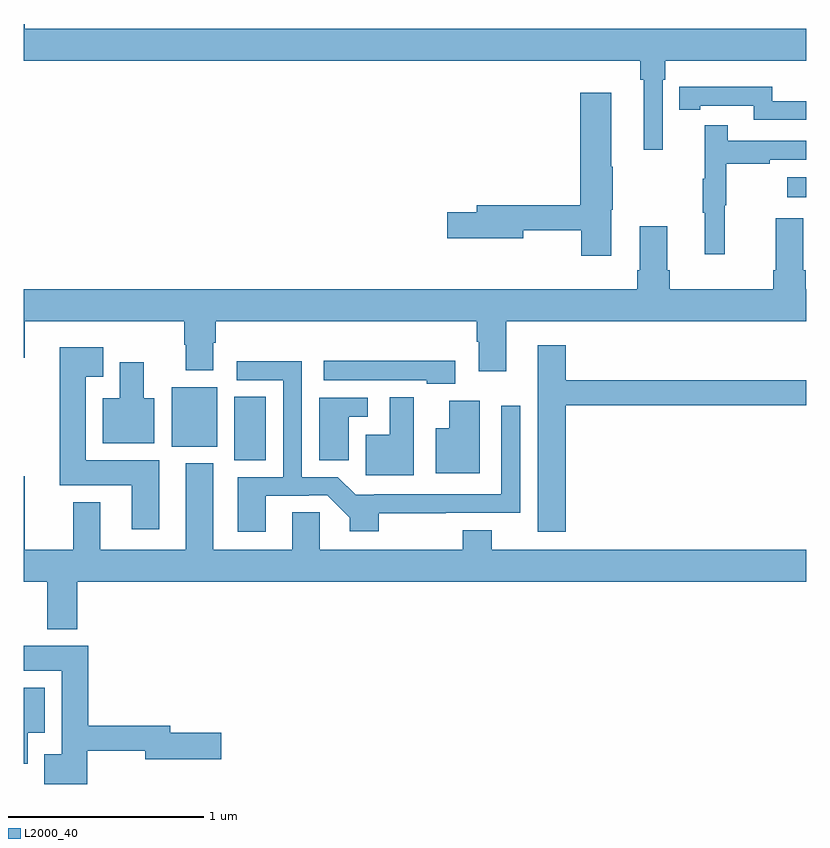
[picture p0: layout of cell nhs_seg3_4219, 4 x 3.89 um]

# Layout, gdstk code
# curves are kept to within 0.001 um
import gdstk
lib = gdstk.Library(unit=1e-6, precision=1e-09)
def R(c, l, rs):  # rectangles x0, y0, x1, y1
    for r in rs: c.add(gdstk.rectangle(r[:2], r[2:], *l))
def P(c, l, *ps):  # polygons
    for p in ps: c.add(gdstk.Polygon(p, *l))
L2000_40 = (2000, 40)

nhs_seg3_4219 = lib.new_cell('nhs_seg3_4219')
R(nhs_seg3_4219, L2000_40, [(334.076,736.168,334.237,736.493), (333.755,736.238,333.988,736.543), (336.903,737.513,337,737.617)])
P(nhs_seg3_4219, L2000_40, [(336.267,738.116),(336.281,738.116),(336.281,738.212),(337,738.212),(337,738.376),(333.004,738.376),(333.004,738.4),(333,738.4),(333,738.212),(336.151,738.212),(336.151,738.116),(336.17,738.116),(336.17,737.757),(336.267,737.757)],
  [(337,738.006),(336.828,738.006),(336.828,738.079),(336.46,738.079),(336.46,738.078),(336.352,738.078),(336.352,737.962),(336.46,737.962),(336.46,737.982),(336.732,737.982),(336.732,737.91),(337,737.91)],
  [(336.004,737.451),(336.012,737.451),(336.012,737.669),(336.004,737.669),(336.004,738.049),(335.846,738.049),(335.846,737.474),(335.315,737.474),(335.315,737.438),(335.166,737.438),(335.166,737.303),(335.554,737.303),(335.554,737.346),(335.851,737.346),(335.851,737.214),(336.004,737.214)],
  [(336.584,737.472),(336.592,737.472),(336.592,737.686),(336.815,737.686),(336.815,737.706),(337,737.706),(337,737.802),(336.599,737.802),(336.599,737.881),(336.482,737.881),(336.482,737.609),(336.471,737.609),(336.471,737.435),(336.482,737.435),(336.482,737.223),(336.584,737.223)],
  [(335.467,736.88),(337,736.88),(337,737.044),(336.998,737.044),(336.998,737.14),(336.985,737.14),(336.985,737.407),(336.845,737.407),(336.845,737.14),(336.833,737.14),(336.833,737.044),(336.302,737.044),(336.302,737.14),(336.289,737.14),(336.289,737.365),(336.149,737.365),(336.149,737.14),(336.137,737.14),(336.137,737.044),(333,737.044),(333,736.692),(333.004,736.692),(333.004,736.88),(333.82,736.88),(333.82,736.76),(333.827,736.76),(333.827,736.628),(333.967,736.628),(333.967,736.771),(333.98,736.771),(333.98,736.88),(335.315,736.88),(335.315,736.774),(335.327,736.774),(335.327,736.623),(335.467,736.623)],
  [(335.771,736.45),(337,736.45),(337,736.579),(335.771,736.579),(335.771,736.756),(335.627,736.756),(335.627,735.804),(335.771,735.804)],
  [(333.691,736.168),(333.316,736.168),(333.316,736.595),(333.406,736.595),(333.406,736.747),(333.182,736.747),(333.182,736.04),(333.551,736.04),(333.551,735.816),(333.691,735.816)],
  [(335.206,736.678),(334.533,736.678),(334.533,736.577),(335.061,736.577),(335.061,736.559),(335.206,736.559)],
  [(334.237,735.987),(334.457,735.987),(334.457,735.99),(334.551,735.99),(334.667,735.874),(334.667,735.806),(334.815,735.806),(334.815,735.899),(335.538,735.9),(335.538,736.447),(335.442,736.447),(335.442,735.996),(334.792,735.996),(334.792,735.993),(334.696,735.993),(334.606,736.083),(334.422,736.083),(334.422,736.676),(334.089,736.676),(334.089,736.578),(334.326,736.578),(334.326,736.083),(334.094,736.083),(334.094,735.804),(334.237,735.804)],
  [(333.667,736.486),(333.613,736.486),(333.613,736.669),(333.491,736.669),(333.491,736.486),(333.404,736.486),(333.404,736.256),(333.667,736.256)],
  [(334.993,736.492),(334.871,736.492),(334.871,736.3),(334.748,736.3),(334.748,736.091),(334.993,736.091)],
  [(334.66,736.392),(334.759,736.392),(334.759,736.488),(334.511,736.488),(334.511,736.168),(334.66,736.168)],
  [(335.332,736.474),(335.174,736.474),(335.174,736.333),(335.105,736.333),(335.105,736.103),(335.332,736.103)],
  [(333.272,735.548),(337,735.548),(337,735.712),(335.392,735.712),(335.392,735.811),(335.245,735.811),(335.245,735.712),(334.512,735.712),(334.512,735.902),(334.373,735.902),(334.373,735.712),(333.967,735.712),(333.967,736.153),(333.827,736.153),(333.827,735.712),(333.391,735.712),(333.391,735.955),(333.251,735.955),(333.251,735.712),(333.004,735.712),(333.004,736.087),(333,736.087),(333,735.548),(333.119,735.548),(333.119,735.305),(333.272,735.305)],
  [(333.324,734.682),(333.62,734.682),(333.62,734.639),(334.009,734.639),(334.009,734.774),(333.748,734.774),(333.748,734.81),(333.329,734.81),(333.329,735.22),(333,735.22),(333,735.092),(333.194,735.092),(333.194,734.665),(333.104,734.665),(333.104,734.513),(333.324,734.513)],
  [(333.019,734.774),(333.106,734.774),(333.106,735.004),(333,735.004),(333,734.616),(333.019,734.616)])

lib.write_gds('nhs_seg3_4219.gds')
